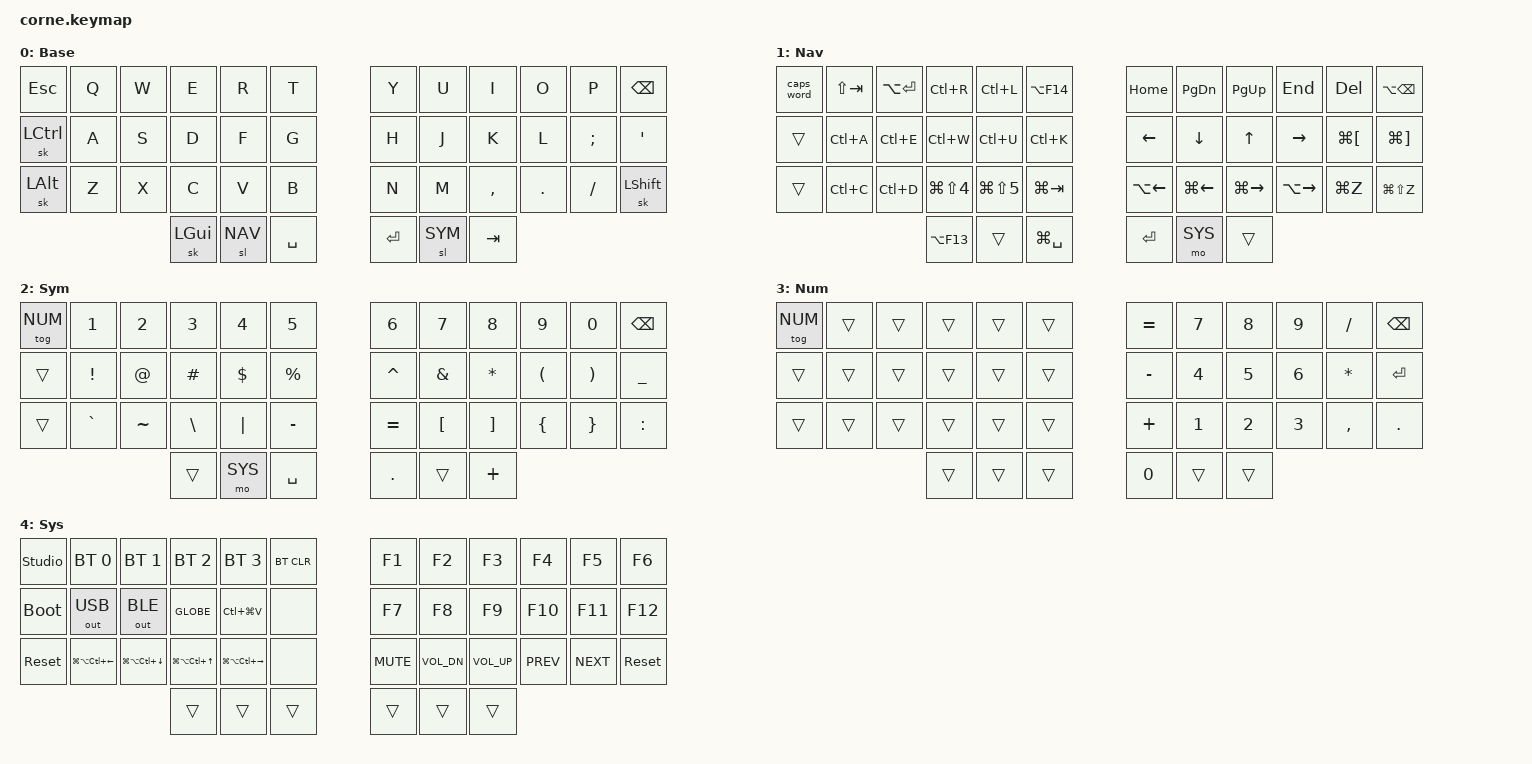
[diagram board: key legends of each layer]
/*
 * Corne keymap: coding and Claude Code on macOS, built to minimise holding.
 *
 * Design rules:
 *   1. All four modifiers are STICKY (&sk) and all four are on the base layer
 *      in prime positions. Tap and release, then press the next key.
 *      Sticky keys still act as normal held modifiers if you DO hold them, so
 *      Cmd-click, Opt-click and Shift-click all still work.
 *   2. No hold-tap on letter keys and no home-row mods. Every base-layer key
 *      does exactly one thing, so there is no hold timing to learn and no
 *      misfire to diagnose. Holding is also the thing that hurts.
 *   3. ESC is top-left. ' keeps its normal home-row spot. Shift takes the
 *      right pinky bottom slot, where every standard keyboard puts it, and
 *      TAB goes to the right outer thumb: TAB is pressed more than Shift on
 *      this keymap, because SYM binds the shifted symbols directly, so Shift
 *      is only capitals and shortcuts. The more frequent key gets the
 *      stronger digit, and the right pinky sheds load.
 *   4. Ctrl and Opt own the left outer column, Cmd and Shift the thumbs, so
 *      every modifier is under the LEFT hand and chords with right-hand
 *      letters and with the mouse.
 *   5. The shell and Claude Code chords you press constantly are bound as
 *      SINGLE keys on NAV, so heavy Ctrl use does not mean heavy Ctrl holding.
 *   6. Five layers, no combos. Combos on the thumbs all collided with real
 *      bigrams (SPACE-RET, Cmd-Shift), so every layer is reached by a key.
 */

#include <behaviors.dtsi>
#include <dt-bindings/zmk/keys.h>
#include <dt-bindings/zmk/bt.h>
#include <dt-bindings/zmk/outputs.h>

#define BASE 0
#define NAV  1
#define SYM  2
#define NUM  3
#define SYS  4


/ {
        keymap {
                compatible = "zmk,keymap";

                base_layer {
                        display-name = "Base";
// ------------------------------------------------------------------------------------------
// | ESC  |  Q  |  W  |  E  |  R  |  T  |   |  Y  |  U  |  I  |  O  |  P  | BKSP |
// |*CTRL |  A  |  S  |  D  |  F  |  G  |   |  H  |  J  |  K  |  L  |  ;  |  '   |
// | *OPT |  Z  |  X  |  C  |  V  |  B  |   |  N  |  M  |  ,  |  .  |  /  |*SHFT |
//                    |*CMD | NAV | SPC |   | ENT | SYM | TAB  |
// Every letter key is a plain keypress. Nothing on this layer is a hold-tap,
// so there is no tapping term to fight and no way to misfire a modifier.
// All four *modifiers are sticky: tap one, then press the next key. They also
// still work as ordinary held modifiers, so Cmd-click, Opt-click and
// Shift-click are unchanged.
//     Ctrl sits where a Mac's Caps Lock is, which is where most terminal
//     users remap it already. Opt is directly below it. Cmd is the left outer
//     thumb, Shift the right outer thumb.
// Because the modifiers are separate keys rather than layered onto letters,
// same-key shortcuts are just two taps: Opt+S is tap OPT, tap S.
// Push-to-talk moved to NAV's outer thumb so TAB could keep a plain base key,
// and backtick lives on SYM (SYM then Z) rather than taking a modifier's slot.
                        bindings = <
   &kp ESC    &kp Q &kp W &kp E &kp R &kp T      &kp Y   &kp U   &kp I     &kp O   &kp P    &kp BSPC
   &sk LCTRL  &kp A &kp S &kp D &kp F &kp G      &kp H   &kp J   &kp K     &kp L   &kp SEMI &kp SQT
   &sk LALT   &kp Z &kp X &kp C &kp V &kp B      &kp N   &kp M   &kp COMMA &kp DOT &kp FSLH &sk LSHFT
                    &sk LGUI &sl NAV &kp SPACE   &kp RET &sl SYM &kp TAB
                        >;
                };

                nav_layer {
                        display-name = "Nav";
// ------------------------------------------------------------------------------------------
// |CAPSW |^+TAB| ^RET| ^-R | ^-L |HFREE|   | HOME| PGDN| PGUP| END | DEL |^BKSP |
// |      | ^-A | ^-E | ^-W | ^-U | ^-K |   | LEFT| DOWN|  UP | RGHT| BACK| FWD  |
// |      | ^-C | ^-D |SHOT4|SHOT5|CMDTB|   | W<- | LN<-| LN->| W-> | UNDO| REDO |
//                    | PTT |     |SPOTL|   | ENT | SYS | TAB  |
// PTT sits on the left OUTER THUMB. Tap the middle thumb for NAV, then slide
// the same thumb out one key and hold. The thumb is the strongest digit on the
// board, which matters here because this is the longest hold in the keymap: it
// lasts as long as the sentence being dictated. Any finger position would be
// worse, and the two keys are adjacent so it is one motion.
// The outer column stays &trans on both lower rows, so it falls through to
// Ctrl and Opt and keeps both reachable without leaving this layer.
// LEFT HAND = shell + Claude Code, every one a SINGLE press, no modifier held:
//   ^-A start of line   ^-E end of line   ^-W delete word   ^-U delete line
//   ^-K kill to end     ^-C interrupt     ^-D EOF           ^-L clear
//   ^-R reverse search
// Wispr Flow dictation. Flow's default fn and fn+space CANNOT be used: ZMK
// cannot send Apple's fn. Flow also REQUIRES at least one modifier in a
// shortcut, so a bare F-key is rejected as an invalid key. Modifier+F13/F14
// is the safest pairing available: F13-F19 have no default macOS binding at
// all, and the added modifier satisfies Flow's validator.
// Set in Flow Hub > Settings > General > Shortcuts > Change:
//     push-to-talk -> Opt+F13    hands-free -> Opt+F14
//   PTT   = &kp LA(F13) on NAV's left outer thumb. Hold to talk, release to
//           stop and paste. Double-tap it for Flow's own hands-free lock, so
//           this one key covers both modes.
//   HFREE = &kp LA(F14) on NAV, the T position. Tap to start dictating, tap
//           again to stop. Nothing held; use when PTT's hold is unwelcome.
// No &kt latch here: latching a modifier combo would leave Ctrl/Opt stuck
// down and turn every later keystroke into a chord.
// SYS also carries PASTE = Cmd+Ctrl+V, Flow's paste-last-transcript.
//   ^+TAB = Shift-Tab, Claude Code mode cycle
//   ^RET  = Option-Return, newline inside a prompt without submitting
// RIGHT HAND = motion. W<- / W-> are Option-Arrow word jumps, LN<- / LN->
// are Cmd-Arrow line jumps, BACK / FWD are Cmd-[ and Cmd-].
                        bindings = <
   &caps_word &kp LS(TAB) &kp LA(RET) &kp LC(R)      &kp LC(L)      &kp LA(F14)   &kp HOME     &kp PG_DN    &kp PG_UP     &kp END       &kp DEL      &kp LA(BSPC)
   &trans &kp LC(A)   &kp LC(E)   &kp LC(W)      &kp LC(U)      &kp LC(K)     &kp LEFT     &kp DOWN     &kp UP        &kp RIGHT     &kp LG(LBKT) &kp LG(RBKT)
   &trans &kp LC(C)   &kp LC(D)   &kp LG(LS(N4)) &kp LG(LS(N5)) &kp LG(TAB)   &kp LA(LEFT) &kp LG(LEFT) &kp LG(RIGHT) &kp LA(RIGHT) &kp LG(Z)    &kp LG(LS(Z))
                      &kp LA(F13) &trans         &kp LG(SPACE)                &kp RET      &mo SYS      &trans
                        >;
                };

                sym_layer {
                        display-name = "Sym";
// ------------------------------------------------------------------------------------------
// | NUM  |  1  |  2  |  3  |  4  |  5  |   |  6  |  7  |  8  |  9  |  0  | BKSP |
// |      |  !  |  @  |  #  |  $  |  %  |   |  ^  |  &  |  *  |  (  |  )  |  _   |
// |      |  `  |  ~  |  \  | "|" |  -  |   |  =  |  [  |  ]  |  {  |  }  |  :   |
//                    |     | SYS | SPC |   |  .  |     |  +   |
// Digits keep their normal left-to-right order, and the shifted symbol for each
// digit sits directly below it, so there is nothing new to memorise.
// PLUS sits on the right OUTER THUMB. Tap SYM, then slide the same thumb out one
// key: two taps instead of three, and the same motion as PTT on NAV. It takes
// that slot from a &trans fall-through to TAB, which is a fair trade because +=
// and string concatenation are constant in Python and SQL while TAB is still one
// tap away on base.
// Not on this layer, because they are one Shift away from a key you already have:
//   "  = Shift '     ?  = Shift /     <  >  = Shift , .
                        bindings = <
   &tog NUM &kp N1    &kp N2    &kp N3    &kp N4    &kp N5       &kp N6    &kp N7   &kp N8    &kp N9   &kp N0   &kp BSPC
   &trans &kp EXCL  &kp AT    &kp HASH  &kp DLLR  &kp PRCNT    &kp CARET &kp AMPS &kp ASTRK &kp LPAR &kp RPAR &kp UNDER
   &trans &kp GRAVE &kp TILDE &kp BSLH  &kp PIPE  &kp MINUS    &kp EQUAL &kp LBKT &kp RBKT  &kp LBRC &kp RBRC &kp COLON
                    &trans    &mo SYS   &kp SPACE               &kp DOT   &trans   &kp PLUS
                        >;
                };

                num_layer {
                        display-name = "Num";
// ------------------------------------------------------------------------------------------
// | NUM  |     |     |     |     |     |   |  =  |  7  |  8  |  9  |  /  | BKSP |
// |      |     |     |     |     |     |   |  -  |  4  |  5  |  6  |  *  | ENT  |
// |      |     |     |     |     |     |   |  +  |  1  |  2  |  3  |  ,  |  .   |
//                    |     |     |     |   |  0  |     |     |
// Toggled from SYM's top-left key, and off again from the same physical key,
// so it stays on while you key in a long number without holding anything.
// The whole left half falls through to Base, so letters and all four sticky
// modifiers still work while the numpad is active.
                        bindings = <
   &tog NUM &trans &trans &trans &trans &trans  &kp EQUAL &kp N7 &kp N8 &kp N9 &kp FSLH  &kp BSPC
   &trans &trans &trans &trans &trans &trans    &kp MINUS &kp N4 &kp N5 &kp N6 &kp ASTRK &kp RET
   &trans &trans &trans &trans &trans &trans    &kp PLUS  &kp N1 &kp N2 &kp N3 &kp COMMA &kp DOT
                 &trans &trans &trans           &kp N0    &trans &trans
                        >;
                };

                sys_layer {
                        display-name = "Sys";
// ------------------------------------------------------------------------------------------
// |STUDIO| BT1 | BT2 | BT3 | BT4 |BTCLR|   |  F1 |  F2 |  F3 |  F4 |  F5 |  F6  |
// | BOOT | USB | BLE |GLOBE|PASTE|     |   |  F7 |  F8 |  F9 | F10 | F11 | F12  |
// | RESET| W<- | W_v | W^  | W-> |     |   | MUTE| VOL-| VOL+| PREV| NEXT|RESET |
//                    |     |     |     |   |     |     |     |
// Reached with &mo SYS from NAV or SYM.
// W<- W_v W^ W-> are Rectangle window snapping: Cmd+Opt+Ctrl plus an arrow.
// Left to right they follow the same left/down/up/right order as the arrow
// cluster on NAV, mirrored onto the left hand.
// Done as single keys because the alternative is five taps: latching Cmd, then
// Opt, then Ctrl, then NAV, then the arrow, with all five having to land inside
// the 2000ms sticky window. Ctrl and Opt also share the left pinky column, so a
// held three-modifier chord is not physically available on this layout.
// &mo SYS is momentary, so hold it and tap several of these to arrange a few
// windows in one go.
// BT keys are labelled 1-4 to match the OLED. The bindings are BT_SEL 0-3
// because ZMK's keycodes are 0-indexed, while output_status.c prints
// profile_index + 1. So BT_SEL 2 shows as '3' on screen; the label here
// follows the screen so the two agree.
// GLOBE is ZMK's nearest equivalent to the Mac fn/Globe key. It sends HID
// consumer usage 0x029D, which macOS accepts for input-source switching and
// the emoji picker. It is NOT a true Apple fn: it is not treated as a
// modifier, so Globe+arrow and fn+F-key chords do not work. Everything fn
// is normally used for is already bound directly: DEL and HOME/END/PGUP/PGDN
// on NAV, F1-F12 on this layer.
                        bindings = <
   &studio_unlock &bt BT_SEL 0 &bt BT_SEL 1 &bt BT_SEL 2 &bt BT_SEL 3 &bt BT_CLR   &kp F1     &kp F2       &kp F3       &kp F4     &kp F5     &kp F6
   &bootloader    &out OUT_USB &out OUT_BLE &kp GLOBE    &kp LC(LG(V)) &none        &kp F7     &kp F8       &kp F9       &kp F10    &kp F11    &kp F12
   &sys_reset     &kp LG(LA(LC(LEFT))) &kp LG(LA(LC(DOWN))) &kp LG(LA(LC(UP))) &kp LG(LA(LC(RIGHT))) &none   &kp C_MUTE &kp C_VOL_DN &kp C_VOL_UP &kp C_PREV &kp C_NEXT &sys_reset
                                            &trans       &trans       &trans                   &trans       &trans       &trans
                        >;
                };
        };
};

/* Sticky behaviour tuning.
 * release-after-ms 2000: two seconds to press the next key instead of the
 * default one second, so you are never rushing a chord.
 * ignore-modifiers: lets you stack sticky mods, so Cmd then Shift then key
 * works, and so Shift can be added on top of an active SYM layer.
 */
&sk {
        release-after-ms = <2000>;
        ignore-modifiers;
};

&sl {
        release-after-ms = <2000>;
};

/* caps_word survives _ and - so SNAKE_CASE, CONSTANT_NAMES and SQL keywords
 * all complete in one shot.
 */
&caps_word {
        continue-list = <UNDERSCORE MINUS BACKSPACE DELETE>;
};
